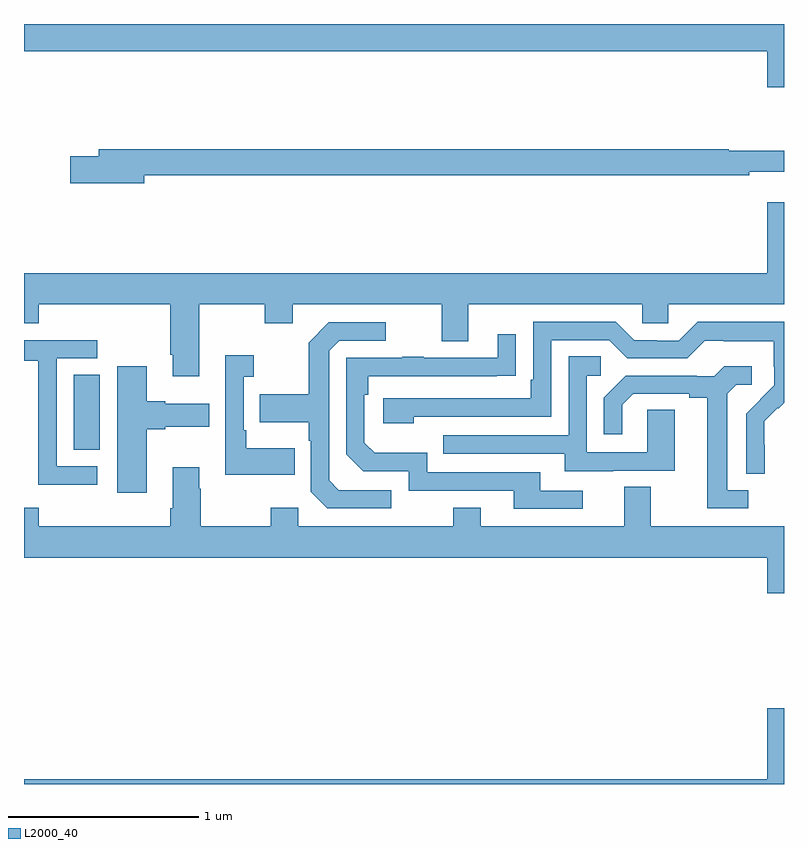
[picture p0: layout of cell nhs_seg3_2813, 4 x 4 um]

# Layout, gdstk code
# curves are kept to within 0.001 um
import gdstk
lib = gdstk.Library(unit=1e-6, precision=1e-09)
def R(c, l, rs):  # rectangles x0, y0, x1, y1
    for r in rs: c.add(gdstk.rectangle(r[:2], r[2:], *l))
def P(c, l, *ps):  # polygons
    for p in ps: c.add(gdstk.Polygon(p, *l))
L2000_40 = (2000, 40)

nhs_seg3_2813 = lib.new_cell('nhs_seg3_2813')
R(nhs_seg3_2813, L2000_40, [(257.261,692.158,257.398,692.555)])
P(nhs_seg3_2813, L2000_40, [(257,694.256),(260.912,694.256),(260.912,694.068),(261,694.068),(261,694.4),(257,694.4)],
  [(257.632,693.604),(260.816,693.604),(260.816,693.623),(261,693.623),(261,693.733),(260.708,693.733),(260.708,693.74),(257.393,693.74),(257.393,693.704),(257.244,693.704),(257.244,693.562),(257.632,693.562)],
  [(257.923,692.924),(258.267,692.924),(258.267,692.825),(258.415,692.825),(258.415,692.924),(259.199,692.924),(259.199,692.73),(259.339,692.73),(259.339,692.924),(260.253,692.924),(260.253,692.826),(260.391,692.826),(260.391,692.924),(261,692.924),(261,693.463),(260.912,693.463),(260.912,693.088),(257,693.088),(257,692.825),(257.078,692.825),(257.078,692.924),(257.771,692.924),(257.771,692.659),(257.783,692.659),(257.783,692.547),(257.923,692.547)],
  [(260.898,692.186),(260.897,692.309),(260.967,692.379),(260.97,692.376),(261,692.406),(261,692.833),(260.545,692.833),(260.445,692.733),(260.33,692.733),(260.33,692.736),(260.211,692.736),(260.115,692.832),(259.68,692.832),(259.68,692.527),(259.667,692.527),(259.667,692.43),(258.891,692.43),(258.891,692.3),(259.052,692.3),(259.052,692.334),(259.776,692.334),(259.776,692.736),(260.079,692.736),(260.175,692.64),(260.49,692.64),(260.583,692.733),(260.683,692.733),(260.683,692.729),(260.946,692.729),(260.946,692.595),(260.948,692.595),(260.948,692.498),(260.802,692.35),(260.802,692.032),(260.898,692.032)],
  [(258.934,691.947),(258.657,691.947),(258.606,691.998),(258.606,692.679),(258.66,692.733),(258.904,692.733),(258.904,692.829),(258.603,692.829),(258.498,692.723),(258.498,692.451),(258.241,692.451),(258.241,692.303),(258.498,692.303),(258.498,692.207),(258.51,692.207),(258.51,691.938),(258.597,691.851),(258.934,691.851)],
  [(259.942,691.944),(259.717,691.944),(259.717,692.04),(259.122,692.04),(259.122,692.143),(258.845,692.143),(258.792,692.196),(258.792,692.45),(258.812,692.45),(258.812,692.547),(259.589,692.548),(259.589,692.767),(259.493,692.767),(259.493,692.643),(259.103,692.643),(259.103,692.648),(258.991,692.648),(258.991,692.643),(258.696,692.643),(258.696,692.136),(258.786,692.046),(259.026,692.046),(259.026,691.944),(259.577,691.944),(259.577,691.848),(259.942,691.848)],
  [(257.386,692.073),(257.172,692.073),(257.172,692.64),(257.386,692.64),(257.386,692.736),(257,692.736),(257,692.628),(257.074,692.628),(257.074,692.404),(257.076,692.404),(257.076,691.975),(257.386,691.975)],
  [(258.425,692.167),(258.169,692.167),(258.169,692.263),(258.156,692.263),(258.156,692.543),(258.208,692.543),(258.208,692.656),(258.06,692.656),(258.06,692.027),(258.425,692.027)],
  [(260.101,692.049),(260.425,692.049),(260.425,692.369),(260.28,692.369),(260.28,692.145),(259.962,692.145),(259.962,692.55),(260.035,692.55),(260.035,692.651),(259.866,692.651),(259.866,692.235),(259.207,692.235),(259.207,692.139),(259.847,692.139),(259.847,692.045),(260.101,692.045)],
  [(260.812,691.947),(260.701,691.947),(260.701,692.455),(260.748,692.502),(260.83,692.502),(260.83,692.599),(260.686,692.599),(260.634,692.547),(260.54,692.547),(260.54,692.55),(260.168,692.55),(260.052,692.434),(260.052,692.241),(260.149,692.241),(260.149,692.397),(260.206,692.454),(260.501,692.454),(260.501,692.432),(260.597,692.432),(260.597,691.851),(260.812,691.851)],
  [(257.647,692.267),(257.743,692.267),(257.743,692.279),(257.974,692.279),(257.974,692.401),(257.743,692.401),(257.743,692.414),(257.647,692.414),(257.647,692.599),(257.492,692.599),(257.492,691.932),(257.647,691.932)],
  [(261,691.756),(260.299,691.756),(260.299,691.964),(260.159,691.964),(260.159,691.756),(259.405,691.756),(259.405,691.855),(259.258,691.855),(259.258,691.756),(258.444,691.756),(258.444,691.855),(258.298,691.855),(258.298,691.756),(257.931,691.756),(257.931,691.955),(257.923,691.955),(257.923,692.068),(257.783,692.068),(257.783,691.852),(257.771,691.852),(257.771,691.756),(257.078,691.756),(257.078,691.855),(257,691.855),(257,691.592),(260.912,691.592),(260.912,691.404),(261,691.404)],
  [(261,690.799),(260.912,690.799),(260.912,690.424),(257,690.424),(257,690.4),(261,690.4)])

lib.write_gds('nhs_seg3_2813.gds')
